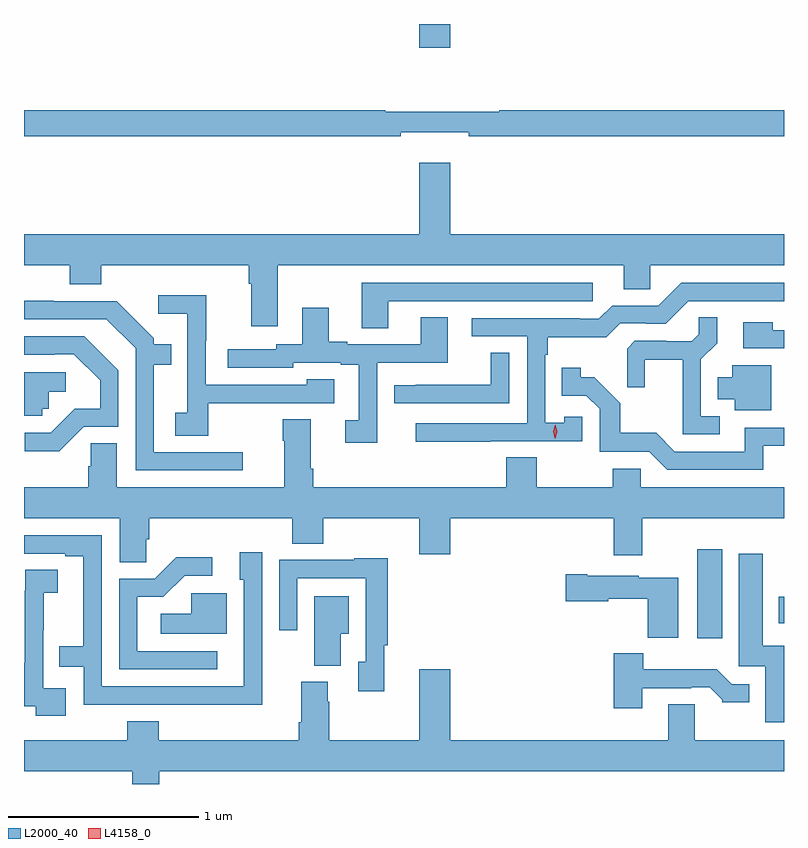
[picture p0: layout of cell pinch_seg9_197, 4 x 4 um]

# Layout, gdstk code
import gdstk
lib = gdstk.Library(unit=1e-6, precision=1e-09)
def R(c, l, rs):  # rectangles x0, y0, x1, y1
    for r in rs: c.add(gdstk.rectangle(r[:2], r[2:], *l))
def P(c, l, *ps):  # polygons
    for p in ps: c.add(gdstk.Polygon(p, *l))
L2000_40 = (2000, 40)
L4158_0 = (4158, 0)

pinch_seg9_197 = lib.new_cell('pinch_seg9_197')
R(pinch_seg9_197, L2000_40, [(550.088,1237.08,550.219,1237.549), (550.517,1237.16,550.544,1237.3), (548.624,1240.188,548.788,1240.314)])
P(pinch_seg9_197, L2000_40, [(548.528,1239.743),(548.884,1239.743),(548.884,1239.724),(550.544,1239.724),(550.544,1239.86),(549.045,1239.86),(549.045,1239.853),(548.445,1239.853),(548.445,1239.86),(546.544,1239.86),(546.544,1239.724),(548.528,1239.724)],
  [(547.879,1239.044),(549.701,1239.044),(549.701,1238.917),(549.84,1238.917),(549.84,1239.044),(550.544,1239.044),(550.544,1239.208),(548.788,1239.208),(548.788,1239.583),(548.624,1239.583),(548.624,1239.208),(546.544,1239.208),(546.544,1239.044),(546.785,1239.044),(546.785,1238.945),(546.95,1238.945),(546.95,1239.044),(547.727,1239.044),(547.727,1238.948),(547.739,1238.948),(547.739,1238.724),(547.879,1238.724)],
  [(548.461,1238.856),(549.538,1238.856),(549.538,1238.952),(548.321,1238.952),(548.321,1238.713),(548.461,1238.713)],
  [(548.999,1238.118),(549.483,1238.118),(549.483,1238.247),(549.387,1238.247),(549.387,1238.215),(549.288,1238.215),(549.288,1238.573),(549.301,1238.573),(549.301,1238.666),(549.608,1238.666),(549.681,1238.739),(549.82,1238.739),(549.82,1238.736),(549.921,1238.736),(550.041,1238.856),(550.544,1238.856),(550.544,1238.952),(550.002,1238.952),(549.882,1238.832),(549.639,1238.832),(549.57,1238.763),(549.47,1238.763),(549.47,1238.766),(548.901,1238.766),(548.901,1238.67),(549.192,1238.67),(549.192,1238.214),(548.607,1238.214),(548.607,1238.116),(548.999,1238.116)],
  [(547.513,1238.317),(547.817,1238.317),(547.817,1238.319),(548.176,1238.319),(548.176,1238.443),(548.031,1238.443),(548.031,1238.415),(547.5,1238.415),(547.5,1238.648),(547.503,1238.648),(547.503,1238.887),(547.251,1238.887),(547.251,1238.789),(547.404,1238.789),(547.404,1238.268),(547.341,1238.268),(547.341,1238.146),(547.513,1238.146)],
  [(547.696,1238.061),(547.228,1238.061),(547.228,1238.52),(547.319,1238.52),(547.319,1238.629),(547.227,1238.629),(547.227,1238.661),(547.032,1238.856),(546.701,1238.856),(546.701,1238.858),(546.544,1238.858),(546.544,1238.76),(546.978,1238.76),(547.131,1238.607),(547.131,1237.965),(547.696,1237.965)],
  [(548.403,1238.532),(548.773,1238.532),(548.773,1238.771),(548.633,1238.771),(548.633,1238.628),(548.245,1238.628),(548.245,1238.641),(548.149,1238.641),(548.149,1238.821),(548.009,1238.821),(548.009,1238.628),(547.872,1238.628),(547.872,1238.601),(547.617,1238.601),(547.617,1238.505),(547.962,1238.505),(547.962,1238.532),(548.21,1238.532),(548.21,1238.52),(548.306,1238.52),(548.306,1238.229),(548.235,1238.229),(548.235,1238.109),(548.403,1238.109)],
  [(550.207,1238.25),(550.107,1238.25),(550.107,1238.549),(550.193,1238.635),(550.193,1238.771),(550.095,1238.771),(550.095,1238.68),(550.058,1238.643),(549.924,1238.643),(549.924,1238.646),(549.759,1238.646),(549.718,1238.605),(549.718,1238.403),(549.812,1238.403),(549.812,1238.546),(550.01,1238.546),(550.01,1238.154),(550.207,1238.154)],
  [(550.544,1238.703),(550.485,1238.703),(550.485,1238.743),(550.329,1238.743),(550.329,1238.607),(550.544,1238.607)],
  [(546.858,1238.193),(547.041,1238.193),(547.041,1238.491),(546.862,1238.67),(546.544,1238.67),(546.544,1238.574),(546.707,1238.574),(546.707,1238.577),(546.807,1238.577),(546.944,1238.44),(546.944,1238.29),(546.811,1238.29),(546.684,1238.163),(546.549,1238.163),(546.549,1238.066),(546.73,1238.066)],
  [(549.099,1238.585),(549.001,1238.585),(549.001,1238.415),(548.605,1238.415),(548.605,1238.414),(548.493,1238.414),(548.493,1238.319),(549.099,1238.319)],
  [(550.477,1238.518),(550.271,1238.518),(550.271,1238.455),(550.196,1238.455),(550.196,1238.339),(550.286,1238.339),(550.286,1238.282),(550.477,1238.282)],
  [(550.436,1238.094),(550.544,1238.094),(550.544,1238.19),(550.337,1238.19),(550.337,1238.064),(549.969,1238.064),(549.871,1238.163),(549.682,1238.163),(549.682,1238.318),(549.544,1238.456),(549.474,1238.456),(549.474,1238.506),(549.373,1238.506),(549.373,1238.358),(549.504,1238.358),(549.573,1238.289),(549.573,1238.064),(549.834,1238.064),(549.93,1237.968),(550.436,1237.968)],
  [(546.639,1238.289),(546.675,1238.289),(546.675,1238.378),(546.763,1238.378),(546.763,1238.481),(546.544,1238.481),(546.544,1238.253),(546.639,1238.253)],
  [(547.188,1237.603),(547.202,1237.603),(547.202,1237.712),(547.955,1237.712),(547.955,1237.579),(548.12,1237.579),(548.12,1237.712),(548.624,1237.712),(548.624,1237.524),(548.788,1237.524),(548.788,1237.712),(549.647,1237.712),(549.647,1237.518),(549.799,1237.518),(549.799,1237.712),(550.544,1237.712),(550.544,1237.876),(549.789,1237.876),(549.789,1237.974),(549.643,1237.974),(549.643,1237.876),(549.243,1237.876),(549.243,1238.033),(549.083,1238.033),(549.083,1237.876),(548.066,1237.876),(548.066,1237.972),(548.053,1237.972),(548.053,1238.233),(547.906,1238.233),(547.906,1238.12),(547.913,1238.12),(547.913,1237.876),(547.033,1237.876),(547.033,1238.108),(546.895,1238.108),(546.895,1237.986),(546.881,1237.986),(546.881,1237.876),(546.544,1237.876),(546.544,1237.712),(547.049,1237.712),(547.049,1237.48),(547.188,1237.48)],
  [(547.799,1237.034),(547.797,1237.034),(547.797,1237.534),(547.679,1237.534),(547.679,1237.389),(547.701,1237.389),(547.701,1236.828),(546.954,1236.828),(546.954,1237.623),(546.544,1237.623),(546.544,1237.527),(546.761,1237.527),(546.761,1237.512),(546.857,1237.512),(546.857,1237.039),(546.73,1237.039),(546.73,1236.93),(546.858,1236.93),(546.858,1236.732),(547.336,1236.732),(547.336,1236.731),(547.799,1236.731)],
  [(550.544,1237.042),(550.432,1237.042),(550.432,1237.525),(550.307,1237.525),(550.307,1236.933),(550.445,1236.933),(550.445,1236.638),(550.544,1236.638)],
  [(547.561,1237.014),(547.14,1237.014),(547.14,1237.299),(547.278,1237.299),(547.389,1237.41),(547.534,1237.41),(547.534,1237.508),(547.346,1237.508),(547.233,1237.395),(547.044,1237.395),(547.044,1236.918),(547.561,1236.918)],
  [(548.441,1237.045),(548.459,1237.045),(548.459,1237.501),(548.283,1237.501),(548.283,1237.494),(547.887,1237.494),(547.887,1237.122),(547.983,1237.122),(547.983,1237.398),(548.343,1237.398),(548.343,1236.957),(548.303,1236.957),(548.303,1236.801),(548.441,1236.801)],
  [(546.763,1236.819),(546.645,1236.819),(546.645,1237.123),(546.647,1237.123),(546.647,1237.321),(546.721,1237.321),(546.721,1237.442),(546.55,1237.442),(546.55,1237.331),(546.548,1237.331),(546.548,1236.953),(546.544,1236.953),(546.544,1236.723),(546.607,1236.723),(546.607,1236.672),(546.763,1236.672)],
  [(549.988,1237.399),(549.78,1237.399),(549.78,1237.411),(549.508,1237.411),(549.508,1237.419),(549.396,1237.419),(549.396,1237.277),(549.618,1237.277),(549.618,1237.289),(549.826,1237.289),(549.826,1237.085),(549.988,1237.085)],
  [(547.612,1237.317),(547.425,1237.317),(547.425,1237.21),(547.263,1237.21),(547.263,1237.106),(547.612,1237.106)],
  [(548.212,1237.106),(548.254,1237.106),(548.254,1237.303),(548.072,1237.303),(548.072,1236.937),(548.212,1236.937)],
  [(549.799,1236.819),(550.055,1236.819),(550.055,1236.822),(550.154,1236.822),(550.218,1236.758),(550.218,1236.743),(550.36,1236.743),(550.36,1236.84),(550.269,1236.84),(550.191,1236.919),(549.802,1236.919),(549.802,1237.003),(549.647,1237.003),(549.647,1236.714),(549.799,1236.714)],
  [(550.544,1236.544),(550.075,1236.544),(550.075,1236.734),(549.935,1236.734),(549.935,1236.544),(548.788,1236.544),(548.788,1236.919),(548.624,1236.919),(548.624,1236.544),(548.151,1236.544),(548.151,1236.746),(548.143,1236.746),(548.143,1236.852),(548.003,1236.852),(548.003,1236.64),(547.991,1236.64),(547.991,1236.544),(547.253,1236.544),(547.253,1236.643),(547.088,1236.643),(547.088,1236.544),(546.544,1236.544),(546.544,1236.38),(547.115,1236.38),(547.115,1236.314),(547.255,1236.314),(547.255,1236.38),(550.544,1236.38)])
P(pinch_seg9_197, L4158_0, [(549.338,1238.133),(549.33,1238.17),(549.34,1238.205),(549.341,1238.205),(549.341,1238.205),(549.35,1238.169),(549.339,1238.133),(549.339,1238.133)])

lib.write_gds('pinch_seg9_197.gds')
